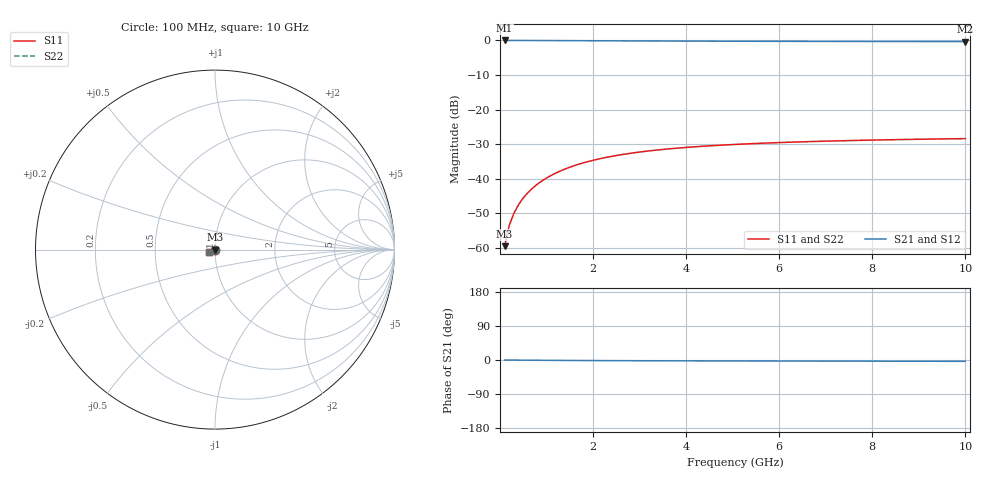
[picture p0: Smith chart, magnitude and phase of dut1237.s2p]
! Touchstone file exported from HFSS 2024.1.0
!  File:  C:/UserFiles/LocalFiles/RDL_TSV_Batchsim/temp_TSV1_1237_1780251005.aedt
!  Generated:  02:15:05 AM Jun  1, 2026
!  Design:  TSV1
!  Project:  temp_TSV1_1237_1780251005
!  Setup:  Setup1
!  Solution:  Sweep
! Variables:
!  dtsv = 13.51um
!  hbump = 3um
!  htsv = 50.36um
!  lrdl = 252.1521522um
!  p = 40
!  p1 = 47.1um
!  t = 500um
!  trdl = 3um
!  wrdl = 24.89489489um
# GHz S MA R 50.000000
! Terminal data exported
! Port[1] = TSV22_T1
! Port[2] = TSV22_T2
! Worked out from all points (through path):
!   100 points, 100 MHz to 10 GHz, reference 50 ohm
!   highest |S21| = 0.00 dB at 100 MHz (marker M1); lowest = -0.3 dB at 10 GHz (marker M2)
!   lowest |S11| = -59.5 dB at 100 MHz (marker M3), VSWR 1.00, Z = 50 - j0.106 ohm
!   |S11| at or under -10 dB: start of sweep to end of sweep
!   |S22| runs from -59.5 to -28.4 dB; largest |S21 - S12| = 3.4e-15
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0.1  0.001065 -88.0  0.9999 -0.1  0.9999 -0.1  0.001065 -88.0
! Gamma 0 0 0 0
! Port Impedance 50 0 50 0
0.2  0.002127 -91.6  0.9998 -0.2  0.9998 -0.2  0.002127 -91.6
0.3  0.003188 -93.9  0.9996 -0.3  0.9996 -0.3  0.003188 -93.9
0.4  0.004243 -95.9  0.9994 -0.4  0.9994 -0.4  0.004243 -95.9
0.5  0.005288 -97.6  0.9991 -0.4  0.9991 -0.4  0.005288 -97.6
0.6  0.006321 -99.4  0.9988 -0.5  0.9988 -0.5  0.006321 -99.4
0.7  0.007339 -101.0  0.9984 -0.6  0.9984 -0.6  0.007338 -101.0
0.8  0.008339 -102.6  0.998 -0.7  0.998 -0.7  0.008339 -102.6
0.9  0.00932 -104.2  0.9975 -0.8  0.9975 -0.8  0.00932 -104.2
1.1  0.01122 -107.2  0.9964 -0.9  0.9964 -0.9  0.01122 -107.2
1.4  0.01389 -111.6  0.9946 -1.1  0.9946 -1.1  0.01389 -111.6
1.6  0.01555 -114.3  0.9933 -1.3  0.9933 -1.3  0.01555 -114.3
1.8  0.0171 -116.9  0.992 -1.4  0.992 -1.4  0.0171 -116.9
2.1  0.01923 -120.6  0.9899 -1.5  0.9899 -1.5  0.01923 -120.6
2.5  0.02175 -125.0  0.9873 -1.7  0.9873 -1.7  0.02175 -125.0
2.9  0.02391 -129.0  0.9848 -1.9  0.9848 -1.9  0.02391 -129.0
3.4  0.02619 -133.3  0.9819 -2.1  0.9819 -2.1  0.02619 -133.3
4.2  0.0291 -139.1  0.9778 -2.3  0.9778 -2.3  0.0291 -139.1
5.1  0.03156 -144.3  0.9741 -2.5  0.9741 -2.5  0.03156 -144.3
6.7  0.03462 -151.5  0.9692 -2.8  0.9692 -2.8  0.03462 -151.5
8.4  0.03677 -157.2  0.9657 -3.2  0.9657 -3.2  0.03677 -157.2
10  0.03816 -161.4  0.9633 -3.5  0.9633 -3.5  0.03816 -161.4
